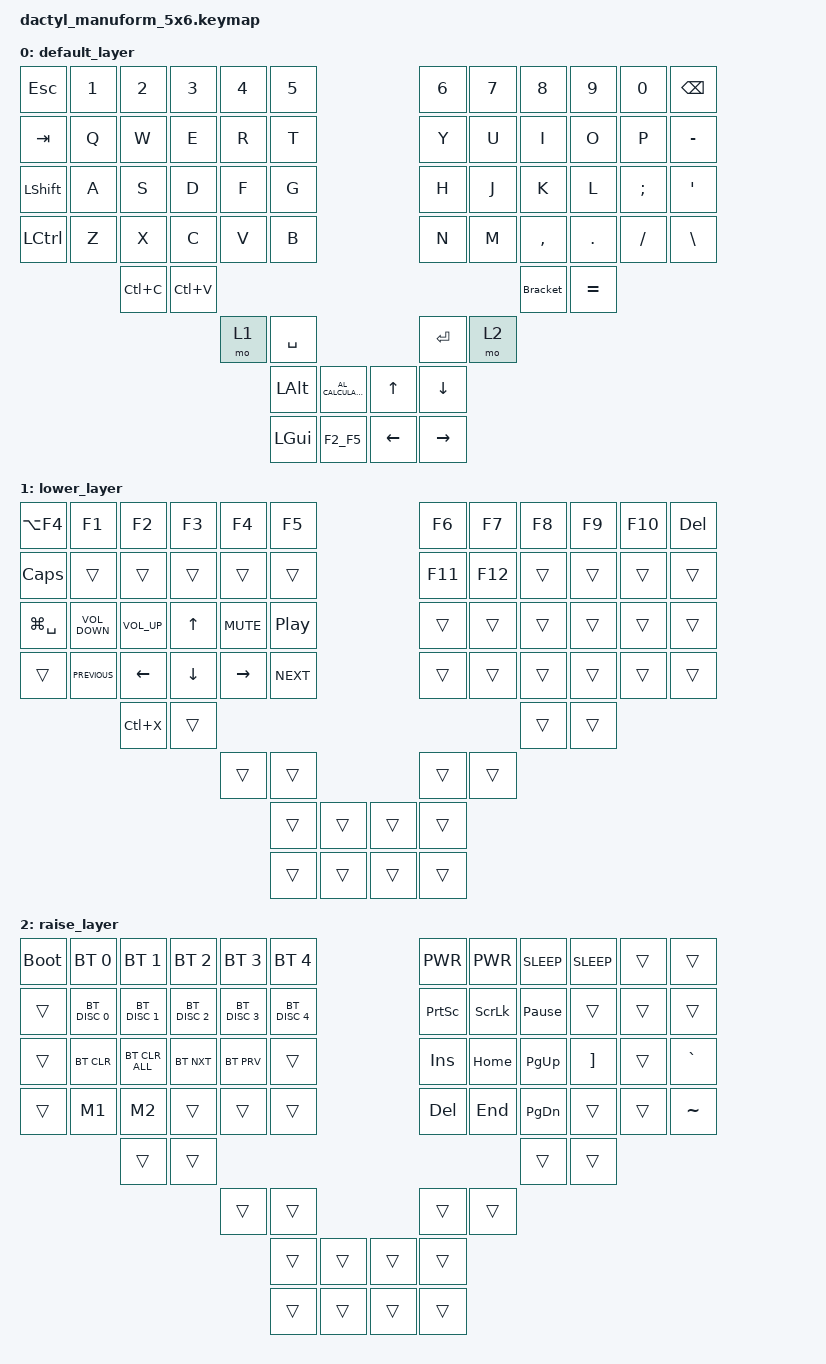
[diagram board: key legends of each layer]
#include <behaviors.dtsi>
#include <dt-bindings/zmk/bt.h>
#include <dt-bindings/zmk/keys.h>

#define DEFAULT 0
#define LWR 1
#define RSE 2
#define ADJ 3

/ {
    behaviors {
        F2_F5: F2_F5 {
            compatible = "zmk,behavior-tap-dance";
            label = "F2_F5";
            #binding-cells = <0>;
            bindings = <&kp F2>, <&kp F5>;
        };

        Bracket: Bracket {
            compatible = "zmk,behavior-tap-dance";
            label = "BRACKET";
            #binding-cells = <0>;
            bindings = <&kp LBKT>, <&kp RBKT>;
        };

        DMP: DMP {
            compatible = "zmk,behavior-tap-dance";
            label = "DMP";
            #binding-cells = <0>;
            bindings = <&kp C_VOL_DN>, <&kp C_MUTE>, <&kp C_PREVIOUS>;
        };

        UPN: UPN {
            compatible = "zmk,behavior-tap-dance";
            label = "UPN";
            #binding-cells = <0>;
            bindings = <&kp C_VOLUME_UP>, <&kp C_PLAY_PAUSE>, <&kp C_NEXT>;
        };

        BSLH_GRV: BSLH_GRV {
            compatible = "zmk,behavior-tap-dance";
            label = "BSLH_GRV";
            #binding-cells = <0>;
            bindings = <&kp BSLH>, <&kp GRAVE>;
        };
    };

    combos { compatible = "zmk,combos"; };

    macros {
        M1: M1 {
            compatible = "zmk,behavior-macro";
            #binding-cells = <0>;
            bindings = <&kp LS(A) &kp LS(S) &kp LS(D) &kp LS(F) &kp LS(G) &kp MINUS &kp EQUAL &kp LBKT &kp RIGHT_BRACKET &kp BSLH>;
            label = "M1";
            wait-ms = <15>;
        };

        M2: M2 {
            compatible = "zmk,behavior-macro";
            #binding-cells = <0>;
            bindings = <&kp LS(Z) &kp A &kp L &kp U &kp P &kp I &kp C &kp H &kp N1 &kp N0 &kp N2 &kp N4 &kp N1 &kp N0 &kp N2 &kp N4 &kp TILDE>;
            label = "M2";
            wait-ms = <30>;
        };
    };

    keymap {
        compatible = "zmk,keymap";

        default_layer {
            bindings = <
&kp ESCAPE  &kp N1  &kp N2     &kp N3     &kp N4  &kp N5                                           &kp N6     &kp N7  &kp N8     &kp N9     &kp N0     &kp BACKSPACE
&kp TAB     &kp Q   &kp W      &kp E      &kp R   &kp T                                            &kp Y      &kp U   &kp I      &kp O      &kp P      &kp MINUS
&kp LSHFT   &kp A   &kp S      &kp D      &kp F   &kp G                                            &kp H      &kp J   &kp K      &kp L      &kp SEMI   &kp SQT
&kp LCTRL   &kp Z   &kp X      &kp C      &kp V   &kp B                                            &kp N      &kp M   &kp COMMA  &kp DOT    &kp SLASH  &kp BACKSLASH
                    &kp LC(C)  &kp LC(V)                                                                              &Bracket   &kp EQUAL
                                          &mo 1   &kp SPACE                                        &kp RET    &mo 2
                                                  &kp LEFT_ALT  &kp C_AL_CALCULATOR  &kp UP_ARROW  &kp DOWN
                                                  &kp LEFT_GUI  &F2_F5               &kp LEFT      &kp RIGHT
            >;
        };

        lower_layer {
            bindings = <
&kp LA(F4)     &kp F1             &kp F2           &kp F3          &kp F4           &kp F5                            &kp F6   &kp F7   &kp F8  &kp F9  &kp F10  &kp DELETE
&kp CLCK       &trans             &trans           &trans          &trans           &trans                            &kp F11  &kp F12  &trans  &trans  &trans   &trans
&kp LG(SPACE)  &kp C_VOLUME_DOWN  &kp C_VOLUME_UP  &kp UP_ARROW    &kp C_MUTE       &kp C_PLAY_PAUSE                  &trans   &trans   &trans  &trans  &trans   &trans
&trans         &kp C_PREVIOUS     &kp LEFT_ARROW   &kp DOWN_ARROW  &kp RIGHT_ARROW  &kp C_NEXT                        &trans   &trans   &trans  &trans  &trans   &trans
                                  &kp LC(X)        &trans                                                                               &trans  &trans
                                                                   &trans           &trans                            &trans   &trans
                                                                                    &trans            &trans  &trans  &trans
                                                                                    &trans            &trans  &trans  &trans
            >;
        };

        raise_layer {
            bindings = <
&bootloader  &bt BT_SEL 0   &bt BT_SEL 1    &bt BT_SEL 2   &bt BT_SEL 3   &bt BT_SEL 4                   &kp C_PWR        &kp K_PWR       &kp K_SLEEP      &kp C_SLEEP        &trans  &trans
&trans       &bt BT_DISC 0  &bt BT_DISC 1   &bt BT_DISC 2  &bt BT_DISC 3  &bt BT_DISC 4                  &kp PRINTSCREEN  &kp SCROLLLOCK  &kp PAUSE_BREAK  &trans             &trans  &trans
&trans       &bt BT_CLR     &bt BT_CLR_ALL  &bt BT_NXT     &bt BT_PRV     &trans                         &kp INS          &kp HOME        &kp PG_UP        &kp RIGHT_BRACKET  &trans  &kp GRAVE
&trans       &M1            &M2             &trans         &trans         &trans                         &kp DEL          &kp END         &kp PAGE_DOWN    &trans             &trans  &kp TILDE
                            &trans          &trans                                                                                        &trans           &trans
                                                           &trans         &trans                         &trans           &trans
                                                                          &trans         &trans  &trans  &trans
                                                                          &trans         &trans  &trans  &trans
            >;
        };
    };
};
